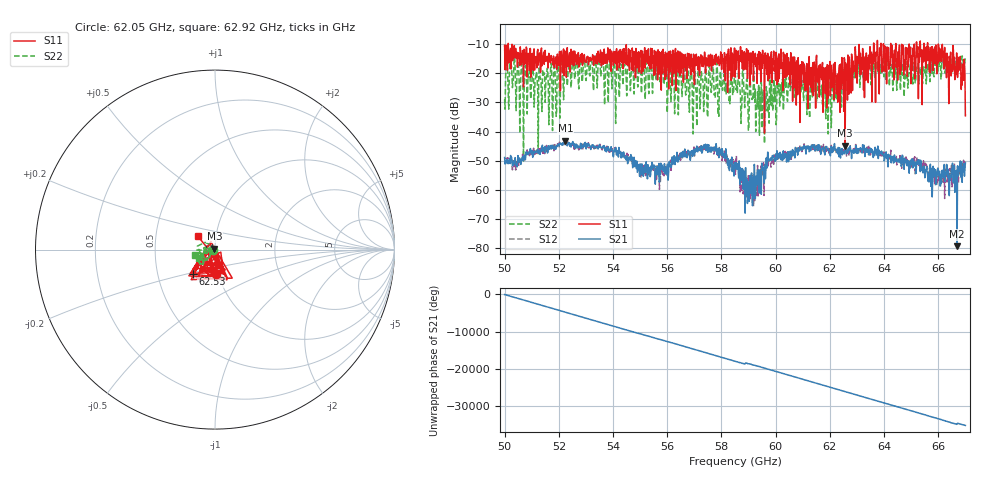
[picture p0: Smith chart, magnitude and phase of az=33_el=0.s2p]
!Created with skrf (http://scikit-rf.org).
# GHz S RI R 50.0
!freq ReS11 ImS11 ReS21 ImS21 ReS12 ImS12 ReS22 ImS22
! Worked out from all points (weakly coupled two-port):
!   1001 points, 50 GHz to 67 GHz, reference 50 ohm
!   highest |S21| = -43.16 dB at 52.24 GHz (marker M1); lowest = -79.4 dB at 66.69 GHz (marker M2)
!   lowest |S11| = -44.8 dB at 62.56 GHz (marker M3), VSWR 1.01, Z = 49.7 + j0.479 ohm
!   |S11| at or under -10 dB: 50.14 GHz to 63.62 GHz (13.48 GHz wide, 23.7 % of centre); 64.43 GHz to 64.93 GHz (492.1 MHz wide, 0.761 % of centre); 66 GHz to end of sweep (the widest 3 of 15)
!   |S22| runs from -50.1 to -13.6 dB; largest |S21 - S12| = 0.0023
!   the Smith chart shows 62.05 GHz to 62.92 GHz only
!   S11 on the Smith chart (normalised r, x): 62.05 GHz: 0.97, -0.27; 62.53 GHz: 0.75, -0.21; 62.92 GHz: 0.81, +0.13
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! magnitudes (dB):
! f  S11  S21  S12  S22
! 50 GHz  -10.3  -48.9  -50.0  -29.0
! 50.29 GHz  -15.6  -51.7  -53.2  -24.9
! 50.63 GHz  -13.2  -50.0  -50.0  -16.6
! 52.24 GHz  -13.7  -43.2  -43.5  -15.8
! 52.84 GHz  -14.4  -44.4  -45.6  -20.1
! 55.68 GHz  -13.7  -52.7  -53.4  -17.9
! 57.41 GHz  -19.9  -44.3  -45.4  -17.9
! 57.62 GHz  -15.3  -47.1  -46.7  -26.5
! 58.5 GHz  -21.3  -52.2  -52.5  -20.2
! 59.21 GHz  -14.0  -51.3  -56.8  -25.4
! 59.79 GHz  -14.8  -49.9  -49.5  -21.7
! 60.57 GHz  -16.4  -47.2  -49.5  -24.1
! 61.34 GHz  -26.4  -44.8  -45.3  -24.4
! 62.05 GHz  -17.2  -46.0  -44.8  -38.7
! 62.53 GHz  -14.6  -47.7  -47.6  -18.7
! 62.56 GHz  -44.8  -45.7  -46.3  -20.6
! 62.92 GHz  -18.2  -46.8  -45.9  -18.8
! 64.18 GHz  -18.6  -48.5  -48.7  -19.5
! 66.08 GHz  -15.6  -58.7  -55.5  -16.2
! 66.69 GHz  -16.1  -79.4  -58.9  -15.4
! 66.9 GHz  -16.8  -52.3  -51.1  -14.8
! 67 GHz  -34.6  -50.8  -50.3  -14.6
